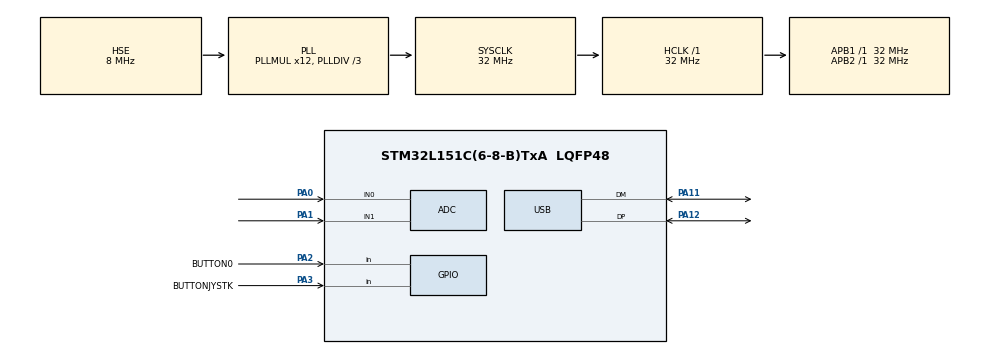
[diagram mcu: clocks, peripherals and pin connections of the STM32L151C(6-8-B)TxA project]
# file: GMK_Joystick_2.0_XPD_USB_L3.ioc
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ADC.Channel-0\#ChannelRegularConversion=ADC_CHANNEL_0
ADC.Channel-1\#ChannelRegularConversion=ADC_CHANNEL_1
ADC.ClockPrescaler=ADC_CLOCK_ASYNC_DIV1
ADC.DMAContinuousRequests=ENABLE
ADC.DiscontinuousConvMode=DISABLE
ADC.NbrOfConversion=2
ADC.NbrOfConversionFlag=1
ADC.Rank-0\#ChannelRegularConversion=1
ADC.Rank-1\#ChannelRegularConversion=2
ADC.SamplingTime-0\#ChannelRegularConversion=ADC_SAMPLETIME_9CYCLES
ADC.SamplingTime-1\#ChannelRegularConversion=ADC_SAMPLETIME_9CYCLES
ADC.ScanConvMode=ADC_SCAN_ENABLE
Dma.ADC.0.Direction=DMA_PERIPH_TO_MEMORY
Dma.ADC.0.Instance=DMA1_Channel1
Dma.ADC.0.MemDataAlignment=DMA_MDATAALIGN_HALFWORD
Dma.ADC.0.MemInc=DMA_MINC_ENABLE
Dma.ADC.0.Mode=DMA_NORMAL
Dma.ADC.0.PeriphDataAlignment=DMA_PDATAALIGN_HALFWORD
Dma.ADC.0.PeriphInc=DMA_PINC_DISABLE
Dma.ADC.0.Priority=DMA_PRIORITY_HIGH
Dma.Request0=ADC
Mcu.Family=STM32L1
Mcu.Name=STM32L151C(6-8-B)TxA
Mcu.Package=LQFP48
NVIC.ADC1_IRQn=true\:0\:0\:true\:false\:true\:true\:true\:true
NVIC.DMA1_Channel1_IRQn=true\:0\:0\:false\:false\:true\:false\:true\:true
NVIC.PriorityGroup=NVIC_PRIORITYGROUP_4
NVIC.TIM2_IRQn=true\:0\:0\:true\:false\:true\:true\:true\:true
PA0-WKUP1.Mode=IN0
PA0-WKUP1.Signal=ADC_IN0
PA1.Mode=IN1
PA1.Signal=ADC_IN1
PA11.Mode=Device
PA11.Signal=USB_DM
PA12.Mode=Device
PA12.Signal=USB_DP
PA2.GPIO_Label=BUTTON0
PA2.Signal=GPIO_Input
PA3.GPIO_Label=BUTTONJYSTK
PA3.GPIO_PuPd=GPIO_PULLDOWN
PA3.Signal=GPIO_Input
PH0-OSC_IN.Mode=HSE-External-Oscillator
PH0-OSC_IN.Signal=RCC_OSC_IN
PH1-OSC_OUT.Mode=HSE-External-Oscillator
PH1-OSC_OUT.Signal=RCC_OSC_OUT
ProjectManager.HeapSize=0x200
ProjectManager.StackSize=0x400
ProjectManager.TargetToolchain=STM32CubeIDE
RCC.48MHZClocksFreq_Value=48000000
RCC.AHBFreq_Value=32000000
RCC.APB1Freq_Value=32000000
RCC.APB1TimFreq_Value=32000000
RCC.APB2Freq_Value=32000000
RCC.APB2TimFreq_Value=32000000
RCC.HCLKFreq_Value=32000000
RCC.HSE_VALUE=8000000
RCC.HSI_VALUE=16000000
RCC.LSE_VALUE=32768
RCC.MSI_VALUE=2097000
RCC.PLLDIV=RCC_PLL_DIV3
RCC.PLLMUL=RCC_PLL_MUL12
RCC.SYSCLKFreq_VALUE=32000000
RCC.SYSCLKSource=RCC_SYSCLKSOURCE_PLLCLK
RCC.VCOOutputFreq_Value=96000000
TIM2.Channel-Output\ Compare1\ No\ Output=TIM_CHANNEL_1
TIM2.Channel-Output\ Compare2\ No\ Output=TIM_CHANNEL_2
TIM2.ClockDivision=TIM_CLOCKDIVISION_DIV1
TIM2.OC1Preload=ENABLE
TIM2.OC2Preload=ENABLE
TIM2.OCMode_1=TIM_OCMODE_ACTIVE
TIM2.OCMode_2=TIM_OCMODE_ACTIVE
TIM2.Period=32-1
TIM2.Prescaler=1000-1
TIM2.Pulse-Output\ Compare1\ No\ Output=16-1
TIM2.Pulse-Output\ Compare2\ No\ Output=32-1
TIM2.TIM_MasterOutputTrigger=TIM_TRGO_RESET
VP_TIM2_VS_ClockSourceINT.Mode=Internal
VP_TIM2_VS_no_output1.Mode=Output Compare1 No Output
VP_TIM2_VS_no_output2.Mode=Output Compare2 No Output
board=custom

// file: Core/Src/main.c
/* USER CODE BEGIN Header */
/**
  ******************************************************************************
  * @file           : main.c
  * @brief          : Main program body
  ******************************************************************************
  * @attention
  *
  * Copyright (c) 2023 STMicroelectronics.
  * All rights reserved.
  *
  * This software is licensed under terms that can be found in the LICENSE file
  * in the root directory of this software component.
  * If no LICENSE file comes with this software, it is provided AS-IS.
  *
  ******************************************************************************
  */
/* USER CODE END Header */
#include "main.h"

/* USER CODE BEGIN Includes */

#include "usb_device.h"
#include "usbd_hid.h"

/* USER CODE END Includes */

/* USER CODE BEGIN PD */

#define lowByte(w) ((uint8_t) ((w) & 0xff))
#define highByte(w) ((uint8_t) ((w) >> 8))

/* USER CODE END PD */

ADC_HandleTypeDef hadc;
DMA_HandleTypeDef hdma_adc;

TIM_HandleTypeDef htim2;

PCD_HandleTypeDef hpcd_USB_FS;

/* USER CODE BEGIN PV */

uint16_t failed_tx;
uint16_t failed_tx_max;
uint16_t failed_tx_avg;

ADC_HandleTypeDef hadc;
DMA_HandleTypeDef hdma_adc;

TIM_HandleTypeDef htim2;

State_TypeDef event_state[EVENT_BUFFER_LENGTH];
uint8_t event_index_read = 0;
uint8_t event_index_write = 0;
uint8_t event_difference = 0;

uint16_t adc_buffer[2];

Joystick_HandleTypeDef joystick;
Controller_HandleTypeDef controller;

static struct {
	uint8_t report_id;
	uint8_t buttons[2];
	uint8_t joysticks[8];
	uint8_t triggers[2];
} hid_output_data;

extern USBD_HID_IfHandleType _gmk_controller_if;

/* USER CODE END PV */

void SystemClock_Config(void);
static void MX_GPIO_Init(void);
static void MX_DMA_Init(void);
static void MX_TIM2_Init(void);
static void MX_ADC_Init(void);
static void MX_USB_PCD_Init(void);
/* USER CODE BEGIN PFP */

void write_next_event_state(State_TypeDef next_state);
void HAL_ADC_ConvCpltCallback(ADC_HandleTypeDef *hadc);

/* USER CODE END PFP */

int main(void)
{

  /* MCU Configuration--------------------------------------------------------*/

  /* Reset of all peripherals, Initializes the Flash interface and the Systick. */
  HAL_Init();

  /* Configure the system clock */
  SystemClock_Config();

  /* Initialize all configured peripherals */
  MX_GPIO_Init();
  MX_DMA_Init();
  MX_TIM2_Init();
  MX_ADC_Init();
  MX_USB_PCD_Init();
  /* USER CODE BEGIN 2 */

  HAL_USBD_Setup();
  UsbDevice_Init();

  HAL_TIM_Base_Start(&htim2);

  HAL_TIM_OC_Start_IT(&htim2, TIM_CHANNEL_1);
  HAL_TIM_OC_Start_IT(&htim2, TIM_CHANNEL_2);

  joystick = Joystick_Init(&adc_buffer[0], &adc_buffer[1]);

  failed_tx = 0;
  failed_tx_max = 0;
  failed_tx_avg = 0;

  /* USER CODE END 2 */

  /* Infinite loop */
  /* USER CODE BEGIN WHILE */

  for(uint8_t i = 0; i < EVENT_BUFFER_LENGTH; i++){
  	  event_state[i] = EVENT_WAIT;
    }

  while (1)
  {
	  switch(event_state[event_index_read]){
		case EVENT_WAIT:
			controller.buttons.a = HAL_GPIO_ReadPin(BUTTON0_GPIO_Port, BUTTON0_Pin);
			controller.buttons.lth = HAL_GPIO_ReadPin(BUTTONJYSTK_GPIO_Port, BUTTONJYSTK_Pin);
			break;
		case TIM_EVENT_1:
			HAL_ADC_Start_DMA(&hadc, (uint32_t *)adc_buffer, 2); //Trigger Joystick ADC read
			break;
		case TIM_EVENT_2:
			write_next_event_state(USB_EVENT_HID_GAMEPAD_UPDATE);
			break;
		case ADC_EVENT_UPDATE:
			Joystick_Update(&joystick);
			uint8_t invert_x = 1;
			uint8_t invert_y = 0;
			float deadzone_x = 0.05f;
			float deadzone_y = 0.05f;
			float val_x = invert_x ? -joystick.x.val : joystick.x.val;
			float val_y = invert_y ? -joystick.y.val : joystick.y.val;
			controller.joysticks._bits[0] = 0;
			controller.joysticks._bits[1] = 0;
			if((val_x > deadzone_x) || (val_x < -deadzone_x)){
				controller.joysticks._bits[1] += (int16_t)(val_x * -(float)INT16_MAX);
			}
			if((val_y > deadzone_y) || (val_y < -deadzone_y)){
				controller.joysticks._bits[0] += (int16_t)(val_y * (float)INT16_MAX);
			}
			hid_output_data.report_id = 1;
			hid_output_data.buttons[0] = lowByte(controller.buttons._bits);
			hid_output_data.buttons[1] = highByte(controller.buttons._bits);
			hid_output_data.joysticks[0] = lowByte(controller.joysticks.left.x);
			hid_output_data.joysticks[1] = highByte(controller.joysticks.left.x);
			hid_output_data.joysticks[2] = lowByte(controller.joysticks.left.y);
			hid_output_data.joysticks[3] = highByte(controller.joysticks.left.y);
			hid_output_data.joysticks[4] = lowByte(controller.joysticks.right.x);
			hid_output_data.joysticks[5] = highByte(controller.joysticks.right.x);
			hid_output_data.joysticks[6] = lowByte(controller.joysticks.right.y);
			hid_output_data.joysticks[7] = highByte(controller.joysticks.right.y);
			hid_output_data.triggers[0] = controller.triggers.left;
			hid_output_data.triggers[1] = controller.triggers.right;
			break;
		case USB_EVENT_HID_GAMEPAD_UPDATE:
			USBD_HID_ReportIn(&_gmk_controller_if, &hid_output_data, sizeof(hid_output_data));
			break;
	}
	if(event_index_read != event_index_write){
		event_index_read = (event_index_read + 1) % EVENT_BUFFER_LENGTH;
	}
	else
		write_next_event_state(EVENT_WAIT);
	event_difference = (event_index_write >= event_index_read) ? event_index_write - event_index_read : event_index_write + (UINT8_MAX - event_index_read);
    /* USER CODE END WHILE */

  }
}

void SystemClock_Config(void)
{
  RCC_OscInitTypeDef RCC_OscInitStruct = {0};
  RCC_ClkInitTypeDef RCC_ClkInitStruct = {0};

  /** Configure the main internal regulator output voltage
  */
  __HAL_PWR_VOLTAGESCALING_CONFIG(PWR_REGULATOR_VOLTAGE_SCALE1);

  /** Initializes the RCC Oscillators according to the specified parameters
  * in the RCC_OscInitTypeDef structure.
  */
  RCC_OscInitStruct.OscillatorType = RCC_OSCILLATORTYPE_HSI|RCC_OSCILLATORTYPE_HSE;
  RCC_OscInitStruct.HSEState = RCC_HSE_ON;
  RCC_OscInitStruct.HSIState = RCC_HSI_ON;
  RCC_OscInitStruct.HSICalibrationValue = RCC_HSICALIBRATION_DEFAULT;
  RCC_OscInitStruct.PLL.PLLState = RCC_PLL_ON;
  RCC_OscInitStruct.PLL.PLLSource = RCC_PLLSOURCE_HSE;
  RCC_OscInitStruct.PLL.PLLMUL = RCC_PLL_MUL12;
  RCC_OscInitStruct.PLL.PLLDIV = RCC_PLL_DIV3;
  if (HAL_RCC_OscConfig(&RCC_OscInitStruct) != HAL_OK)
  {
    Error_Handler();
  }

  /** Initializes the CPU, AHB and APB buses clocks
  */
  RCC_ClkInitStruct.ClockType = RCC_CLOCKTYPE_HCLK|RCC_CLOCKTYPE_SYSCLK
                              |RCC_CLOCKTYPE_PCLK1|RCC_CLOCKTYPE_PCLK2;
  RCC_ClkInitStruct.SYSCLKSource = RCC_SYSCLKSOURCE_PLLCLK;
  RCC_ClkInitStruct.AHBCLKDivider = RCC_SYSCLK_DIV1;
  RCC_ClkInitStruct.APB1CLKDivider = RCC_HCLK_DIV1;
  RCC_ClkInitStruct.APB2CLKDivider = RCC_HCLK_DIV1;

  if (HAL_RCC_ClockConfig(&RCC_ClkInitStruct, FLASH_LATENCY_1) != HAL_OK)
  {
    Error_Handler();
  }
}

static void MX_ADC_Init(void)
{

  ADC_ChannelConfTypeDef sConfig = {0};

  /** Configure the global features of the ADC (Clock, Resolution, Data Alignment and number of conversion)
  */
  hadc.Instance = ADC1;
  hadc.Init.ClockPrescaler = ADC_CLOCK_ASYNC_DIV1;
  hadc.Init.Resolution = ADC_RESOLUTION_12B;
  hadc.Init.DataAlign = ADC_DATAALIGN_RIGHT;
  hadc.Init.ScanConvMode = ADC_SCAN_ENABLE;
  hadc.Init.EOCSelection = ADC_EOC_SEQ_CONV;
  hadc.Init.LowPowerAutoWait = ADC_AUTOWAIT_DISABLE;
  hadc.Init.LowPowerAutoPowerOff = ADC_AUTOPOWEROFF_DISABLE;
  hadc.Init.ChannelsBank = ADC_CHANNELS_BANK_A;
  hadc.Init.ContinuousConvMode = DISABLE;
  hadc.Init.NbrOfConversion = 2;
  hadc.Init.DiscontinuousConvMode = DISABLE;
  hadc.Init.ExternalTrigConv = ADC_SOFTWARE_START;
  hadc.Init.ExternalTrigConvEdge = ADC_EXTERNALTRIGCONVEDGE_NONE;
  hadc.Init.DMAContinuousRequests = ENABLE;
  if (HAL_ADC_Init(&hadc) != HAL_OK)
  {
    Error_Handler();
  }

  /** Configure for the selected ADC regular channel its corresponding rank in the sequencer and its sample time.
  */
  sConfig.Channel = ADC_CHANNEL_0;
  sConfig.Rank = ADC_REGULAR_RANK_1;
  sConfig.SamplingTime = ADC_SAMPLETIME_9CYCLES;
  if (HAL_ADC_ConfigChannel(&hadc, &sConfig) != HAL_OK)
  {
    Error_Handler();
  }

  /** Configure for the selected ADC regular channel its corresponding rank in the sequencer and its sample time.
  */
  sConfig.Channel = ADC_CHANNEL_1;
  sConfig.Rank = ADC_REGULAR_RANK_2;
  if (HAL_ADC_ConfigChannel(&hadc, &sConfig) != HAL_OK)
  {
    Error_Handler();
  }

}

static void MX_TIM2_Init(void)
{

  TIM_ClockConfigTypeDef sClockSourceConfig = {0};
  TIM_MasterConfigTypeDef sMasterConfig = {0};
  TIM_OC_InitTypeDef sConfigOC = {0};

  htim2.Instance = TIM2;
  htim2.Init.Prescaler = 1000-1;
  htim2.Init.CounterMode = TIM_COUNTERMODE_UP;
  htim2.Init.Period = 32-1;
  htim2.Init.ClockDivision = TIM_CLOCKDIVISION_DIV1;
  htim2.Init.AutoReloadPreload = TIM_AUTORELOAD_PRELOAD_DISABLE;
  if (HAL_TIM_Base_Init(&htim2) != HAL_OK)
  {
    Error_Handler();
  }
  sClockSourceConfig.ClockSource = TIM_CLOCKSOURCE_INTERNAL;
  if (HAL_TIM_ConfigClockSource(&htim2, &sClockSourceConfig) != HAL_OK)
  {
    Error_Handler();
  }
  if (HAL_TIM_OC_Init(&htim2) != HAL_OK)
  {
    Error_Handler();
  }
  sMasterConfig.MasterOutputTrigger = TIM_TRGO_RESET;
  sMasterConfig.MasterSlaveMode = TIM_MASTERSLAVEMODE_DISABLE;
  if (HAL_TIMEx_MasterConfigSynchronization(&htim2, &sMasterConfig) != HAL_OK)
  {
    Error_Handler();
  }
  sConfigOC.OCMode = TIM_OCMODE_ACTIVE;
  sConfigOC.Pulse = 16-1;
  sConfigOC.OCPolarity = TIM_OCPOLARITY_HIGH;
  sConfigOC.OCFastMode = TIM_OCFAST_DISABLE;
  if (HAL_TIM_OC_ConfigChannel(&htim2, &sConfigOC, TIM_CHANNEL_1) != HAL_OK)
  {
    Error_Handler();
  }
  __HAL_TIM_ENABLE_OCxPRELOAD(&htim2, TIM_CHANNEL_1);
  sConfigOC.Pulse = 32-1;
  if (HAL_TIM_OC_ConfigChannel(&htim2, &sConfigOC, TIM_CHANNEL_2) != HAL_OK)
  {
    Error_Handler();
  }
  __HAL_TIM_ENABLE_OCxPRELOAD(&htim2, TIM_CHANNEL_2);

}

static void MX_USB_PCD_Init(void)
{

  hpcd_USB_FS.Instance = USB;
  hpcd_USB_FS.Init.dev_endpoints = 8;
  hpcd_USB_FS.Init.speed = PCD_SPEED_FULL;
  hpcd_USB_FS.Init.phy_itface = PCD_PHY_EMBEDDED;
  hpcd_USB_FS.Init.low_power_enable = DISABLE;
  hpcd_USB_FS.Init.battery_charging_enable = DISABLE;
  if (HAL_PCD_Init(&hpcd_USB_FS) != HAL_OK)
  {
    Error_Handler();
  }

}

static void MX_DMA_Init(void)
{

  /* DMA controller clock enable */
  __HAL_RCC_DMA1_CLK_ENABLE();

  /* DMA interrupt init */
  /* DMA1_Channel1_IRQn interrupt configuration */
  HAL_NVIC_SetPriority(DMA1_Channel1_IRQn, 0, 0);
  HAL_NVIC_EnableIRQ(DMA1_Channel1_IRQn);

}

static void MX_GPIO_Init(void)
{
  GPIO_InitTypeDef GPIO_InitStruct = {0};

  /* GPIO Ports Clock Enable */
  __HAL_RCC_GPIOH_CLK_ENABLE();
  __HAL_RCC_GPIOA_CLK_ENABLE();

  /*Configure GPIO pin : BUTTON0_Pin */
  GPIO_InitStruct.Pin = BUTTON0_Pin;
  GPIO_InitStruct.Mode = GPIO_MODE_INPUT;
  GPIO_InitStruct.Pull = GPIO_NOPULL;
  HAL_GPIO_Init(BUTTON0_GPIO_Port, &GPIO_InitStruct);

  /*Configure GPIO pin : BUTTONJYSTK_Pin */
  GPIO_InitStruct.Pin = BUTTONJYSTK_Pin;
  GPIO_InitStruct.Mode = GPIO_MODE_INPUT;
  GPIO_InitStruct.Pull = GPIO_PULLDOWN;
  HAL_GPIO_Init(BUTTONJYSTK_GPIO_Port, &GPIO_InitStruct);

}

/* USER CODE BEGIN 4 */

void write_next_event_state(State_TypeDef next_state){
	event_index_write = (event_index_write + 1) % EVENT_BUFFER_LENGTH;
	event_state[event_index_write] = next_state;
}

void HAL_TIM_OC_DelayElapsedCallback(TIM_HandleTypeDef *htim){
	switch(htim->Channel){
		case HAL_TIM_ACTIVE_CHANNEL_1:
			write_next_event_state(TIM_EVENT_1);
			break;
		case HAL_TIM_ACTIVE_CHANNEL_2:
			write_next_event_state(TIM_EVENT_2);
			break;
		default:
			break;
	}
}

void HAL_ADC_ConvCpltCallback(ADC_HandleTypeDef *hadc){
	write_next_event_state(ADC_EVENT_UPDATE);
}

/* USER CODE END 4 */

void Error_Handler(void)
{
  __disable_irq();
  while (1)
  {
  }
}
